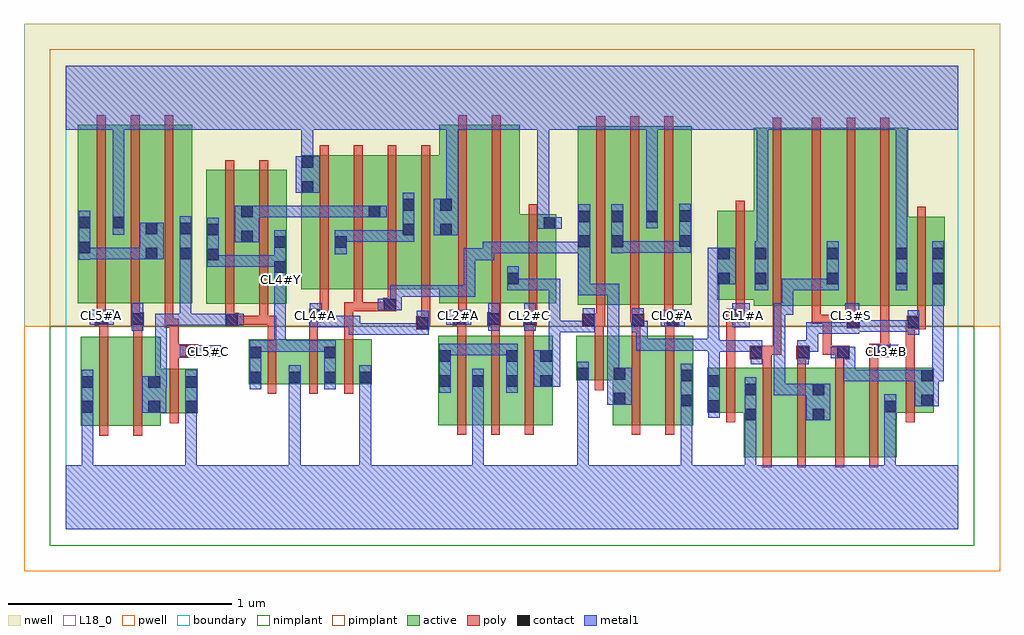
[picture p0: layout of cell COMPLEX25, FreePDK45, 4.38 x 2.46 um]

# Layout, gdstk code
import gdstk
lib = gdstk.Library(unit=1e-6, precision=1e-09)
def R(c, l, rs):  # rectangles x0, y0, x1, y1
    for r in rs: c.add(gdstk.rectangle(r[:2], r[2:], *l))
def A(c, l, x, y, w, h, nx, ny, dx, dy):  # array of equal rectangles
    R(c, l, [(x+i*dx, y+j*dy, x+i*dx+w, y+j*dy+h) for i in range(nx) for j in range(ny)])
active = (1, 0)
pwell = (2, 0)
nwell = (3, 0)
nimplant = (4, 0)
pimplant = (5, 0)
poly = (9, 0)
contact = (10, 0)
metal1 = (11, 0)
L18_0 = (18, 0)
boundary = (235, 0)

complex25 = lib.new_cell('COMPLEX25')
R(complex25, active, [(3.04,0.324,3.22,0.724), (3.22,0.324,3.404,0.724), (3.344,0.324,3.546,0.724), (3.546,0.324,3.726,0.724), (3.344,0.38,3.404,0.658), (3.666,0.38,3.726,0.62), (0.066,0.464,0.246,0.864), (0.246,0.464,0.426,0.864), (0.066,0.468,0.126,0.864), (0.366,0.468,0.426,0.72), (1.67,0.468,1.73,0.868), (1.67,0.468,1.878,0.868), (1.818,0.468,2.03,0.868), (1.818,0.468,1.878,0.71), (1.97,0.468,2.03,0.868), (1.97,0.468,2.182,0.868), (2.122,0.468,2.182,0.868), (2.452,0.468,2.632,0.868), (2.632,0.468,2.812,0.868), (2.752,0.468,2.812,0.868), (3.04,0.486,3.1,0.658), (0.366,0.52,0.59,0.72), (0.53,0.52,0.59,0.72), (2.876,0.524,3.1,0.724), (2.876,0.524,2.936,0.724), (3.666,0.524,3.89,0.724), (3.83,0.548,3.89,0.724), (2.452,0.556,2.512,0.796), (0.82,0.652,0.88,0.852), (0.82,0.652,1.056,0.852), (0.996,0.652,1.214,0.852), (0.996,0.652,1.056,0.75), (1.154,0.652,1.214,0.824), (1.154,0.652,1.372,0.852), (1.312,0.652,1.372,0.852), (2.288,0.668,2.512,0.868), (2.288,0.668,2.348,0.868), (3.084,1.002,3.264,1.802), (3.264,1.002,3.468,1.802), (3.408,1.002,3.596,1.802), (3.408,1.002,3.468,1.724), (3.596,1.002,3.776,1.802), (3.716,1.002,3.94,1.402), (3.88,1.002,3.94,1.402), (2.294,1.008,2.354,1.724), (2.294,1.008,2.502,1.808), (2.442,1.008,2.502,1.724), (2.442,1.008,2.658,1.808), (2.598,1.008,2.806,1.808), (2.746,1.008,2.806,1.724), (0.63,1.012,0.842,1.612), (0.63,1.012,0.69,1.556), (0.782,1.012,0.99,1.612), (0.93,1.012,0.99,1.556), (0.054,1.014,0.114,1.724), (0.054,1.014,0.266,1.814), (0.206,1.014,0.414,1.814), (0.354,1.014,0.566,1.814), (0.506,1.014,0.566,1.724), (1.674,1.014,1.854,1.814), (1.854,1.014,2.034,1.814), (1.974,1.014,2.198,1.414), (2.138,1.014,2.198,1.414), (0.782,1.018,0.842,1.556), (3.716,1.018,3.776,1.756), (0.206,1.028,0.266,1.756), (0.354,1.028,0.414,1.724), (2.92,1.03,3.144,1.43), (2.92,1.03,2.98,1.356), (3.084,1.04,3.144,1.606), (1.974,1.06,2.034,1.62), (1.054,1.078,1.262,1.678), (1.202,1.078,1.414,1.678), (1.354,1.078,1.566,1.678), (1.506,1.078,1.734,1.678), (1.506,1.078,1.566,1.582), (1.354,1.128,1.414,1.582), (1.674,1.128,1.734,1.666), (1.054,1.164,1.114,1.678), (2.598,1.206,2.658,1.808), (1.202,1.258,1.262,1.556)])
R(complex25, pwell, [(-0.188,-0.188,4.188,0.912)])
R(complex25, nwell, [(-0.188,0.912,4.188,2.268)])
R(complex25, nimplant, [(-0.072,-0.072,4.072,0.912)])
R(complex25, pimplant, [(-0.072,0.912,4.072,2.152)])
A(complex25, poly, 1.754, 0.424, 0.04, 0.488, 3, 1, 0.152, 0)
A(complex25, poly, 1.754, 0.872, 0.04, 0.082, 3, 1, 0.152, 0)
A(complex25, poly, 2.378, 0.928, 0.04, 0.076, 3, 1, 0.152, 0)
A(complex25, poly, 2.378, 0.964, 0.04, 0.888, 3, 1, 0.152, 0)
A(complex25, poly, 0.138, 0.97, 0.04, 0.888, 3, 1, 0.152, 0)
A(complex25, poly, 1.138, 1.034, 0.04, 0.688, 4, 1, 0.152, 0)
R(complex25, poly, [(3.124,0.28,3.164,0.768), (3.278,0.28,3.318,0.768), (3.45,0.28,3.49,0.768), (3.602,0.28,3.642,0.768), (0.15,0.42,0.19,0.908), (0.302,0.42,0.342,0.908), (2.536,0.424,2.576,0.912), (2.688,0.424,2.728,0.912), (0.466,0.476,0.506,0.764), (2.96,0.48,3,0.768), (3.766,0.48,3.806,0.768), (0.904,0.608,0.944,0.896), (1.09,0.608,1.13,0.896), (1.248,0.608,1.288,0.896), (2.372,0.624,2.412,0.912), (0.466,0.724,0.506,0.81), (2.96,0.728,3,0.97), (3.124,0.728,3.164,0.804), (3.278,0.728,3.318,0.804), (3.45,0.728,3.49,0.804), (3.602,0.728,3.642,0.812), (3.766,0.728,3.806,0.938), (3.066,0.764,3.164,0.824), (3.274,0.764,3.334,0.824), (3.45,0.764,3.514,0.824), (0.466,0.77,0.594,0.83), (3.602,0.772,3.698,0.832), (3.124,0.784,3.164,0.824), (3.124,0.784,3.208,0.824), (3.168,0.784,3.208,0.998), (3.394,0.784,3.434,0.824), (3.394,0.784,3.49,0.824), (3.394,0.784,3.434,0.962), (0.466,0.79,0.506,0.944), (3.652,0.792,3.692,0.832), (3.652,0.792,3.692,0.832), (3.652,0.792,3.692,0.998), (0.904,0.856,0.944,0.958), (1.09,0.856,1.13,0.97), (1.248,0.856,1.288,1.018), (0.15,0.868,0.19,0.954), (0.302,0.868,0.342,0.954), (2.372,0.872,2.412,0.948), (2.536,0.872,2.576,0.948), (2.688,0.872,2.728,0.948), (1.57,0.896,1.63,0.956), (3.766,0.898,3.81,0.938), (3.77,0.898,3.81,0.938), (3.77,0.898,3.856,0.958), (3.5,0.902,3.56,0.962), (0.442,0.904,0.482,1.01), (0.442,0.904,0.506,0.944), (2.314,0.908,2.418,0.968), (2.372,0.908,2.412,0.948), (2.372,0.908,2.412,0.948), (2.534,0.908,2.594,0.968), (2.682,0.908,2.75,0.968), (2.688,0.908,2.728,0.948), (2.688,0.908,2.728,0.948), (0.714,0.912,0.774,0.972), (0.13,0.914,0.19,0.974), (0.15,0.914,0.19,0.954), (0.15,0.914,0.19,0.954), (0.29,0.914,0.35,0.974), (0.302,0.914,0.342,0.954), (0.302,0.914,0.342,0.954), (1.734,0.914,1.794,0.974), (1.89,0.914,1.95,0.974), (1.906,0.914,1.946,0.954), (1.906,0.914,1.946,0.954), (2.05,0.914,2.11,0.974), (1.59,0.916,1.63,0.956), (1.59,0.916,1.634,0.956), (1.594,0.916,1.634,1.074), (0.734,0.918,0.906,0.958), (0.866,0.918,0.906,0.958), (0.866,0.918,0.906,0.958), (0.866,0.918,0.906,1.008), (0.866,0.918,0.944,0.958), (0.904,0.918,0.944,0.958), (0.904,0.918,0.944,0.958), (3.816,0.918,3.856,0.998), (3.344,0.922,3.384,0.962), (3.344,0.922,3.384,0.998), (3.344,0.922,3.434,0.962), (3.394,0.922,3.434,0.962), (3.5,0.922,3.54,0.998), (2.53,0.928,2.574,0.968), (2.534,0.928,2.574,0.968), (1.09,0.93,1.15,0.99), (2.96,0.93,3,0.97), (2.96,0.93,3,0.97), (2.96,0.93,3.044,0.99), (0.714,0.932,0.754,1.008), (0.138,0.934,0.178,1.01), (0.29,0.934,0.33,1.01), (1.754,0.934,1.794,0.974), (1.754,0.934,1.798,0.974), (1.758,0.934,1.798,1.01), (1.91,0.934,1.95,1.01), (2.07,0.934,2.11,0.974), (2.07,0.934,2.114,0.974), (2.074,0.934,2.114,1.01), (1.11,0.95,1.15,0.99), (1.11,0.95,1.178,0.99), (1.138,0.95,1.178,1.074), (3.004,0.95,3.044,1.026), (3.168,0.958,3.208,1.846), (3.344,0.958,3.384,1.846), (3.5,0.958,3.54,1.846), (3.652,0.958,3.692,1.846), (3.816,0.958,3.856,1.446), (0.714,0.968,0.754,1.656), (0.866,0.968,0.906,1.656), (1.758,0.97,1.798,1.858), (1.91,0.97,1.95,1.858), (2.074,0.97,2.114,1.458), (1.248,0.978,1.288,1.018), (1.248,0.978,1.288,1.018), (1.248,0.978,1.33,1.018), (1.29,0.978,1.33,1.018), (1.29,0.978,1.33,1.018), (1.29,0.978,1.462,1.018), (1.29,0.978,1.33,1.074), (1.422,0.978,1.482,1.038), (3.004,0.986,3.044,1.474), (1.442,0.998,1.482,1.074)])
A(complex25, contact, 1.822, 0.64, 0.052, 0.052, 3, 1, 0.152, 0)
A(complex25, contact, 1, 0.656, 0.052, 0.052, 3, 1, 0.158, 0)
R(complex25, contact, [(3.044,0.49,3.096,0.542), (3.348,0.49,3.4,0.542), (0.07,0.524,0.122,0.576), (0.37,0.524,0.422,0.576), (0.534,0.524,0.586,0.576), (3.67,0.526,3.722,0.578), (2.88,0.528,2.932,0.58), (2.756,0.552,2.808,0.604), (3.834,0.552,3.886,0.604), (2.456,0.56,2.508,0.612), (3.044,0.602,3.096,0.654), (3.348,0.602,3.4,0.654), (0.07,0.636,0.122,0.688), (0.37,0.636,0.422,0.688), (0.534,0.636,0.586,0.688), (1.674,0.64,1.726,0.692), (2.88,0.64,2.932,0.692), (0.824,0.656,0.876,0.708), (2.756,0.664,2.808,0.716), (3.834,0.664,3.886,0.716), (2.292,0.672,2.344,0.724), (2.456,0.672,2.508,0.724), (1.674,0.752,1.726,0.804), (1.974,0.752,2.026,0.804), (2.126,0.752,2.178,0.804), (0.824,0.768,0.876,0.82), (1.158,0.768,1.21,0.82), (3.07,0.768,3.122,0.82), (3.278,0.768,3.33,0.82), (3.458,0.768,3.51,0.82), (0.538,0.774,0.59,0.826), (3.642,0.776,3.694,0.828), (1.574,0.9,1.626,0.952), (3.774,0.902,3.826,0.954), (3.504,0.906,3.556,0.958), (2.318,0.912,2.37,0.964), (2.538,0.912,2.59,0.964), (2.694,0.912,2.746,0.964), (0.718,0.916,0.77,0.968), (0.134,0.918,0.186,0.97), (0.294,0.918,0.346,0.97), (1.738,0.918,1.79,0.97), (1.894,0.918,1.946,0.97), (2.054,0.918,2.106,0.97), (1.094,0.934,1.146,0.986), (2.988,0.934,3.04,0.986), (1.426,0.982,1.478,1.034), (1.978,1.1,2.03,1.152), (2.924,1.1,2.976,1.152), (3.088,1.1,3.14,1.152), (3.412,1.1,3.464,1.152), (3.72,1.1,3.772,1.152), (3.884,1.1,3.936,1.152), (0.934,1.15,0.986,1.202), (0.634,1.206,0.686,1.258), (0.358,1.212,0.41,1.264), (0.51,1.212,0.562,1.264), (2.924,1.212,2.976,1.264), (3.088,1.212,3.14,1.264), (3.412,1.212,3.464,1.264), (3.72,1.212,3.772,1.264), (3.884,1.212,3.936,1.264), (0.058,1.238,0.11,1.29), (0.934,1.262,0.986,1.314), (1.206,1.262,1.258,1.314), (2.298,1.266,2.35,1.318), (2.446,1.266,2.498,1.318), (2.75,1.268,2.802,1.32), (0.786,1.288,0.838,1.34), (0.634,1.318,0.686,1.37), (1.51,1.318,1.562,1.37), (1.678,1.318,1.73,1.37), (0.358,1.324,0.41,1.376), (0.51,1.324,0.562,1.376), (2.142,1.348,2.194,1.4), (0.058,1.35,0.11,1.402), (0.21,1.35,0.262,1.402), (2.298,1.378,2.35,1.43), (2.446,1.378,2.498,1.43), (2.602,1.378,2.654,1.43), (2.75,1.38,2.802,1.432), (0.786,1.4,0.838,1.452), (1.358,1.4,1.41,1.452), (1.51,1.43,1.562,1.482), (1.678,1.43,1.73,1.482), (1.058,1.51,1.11,1.562), (1.058,1.622,1.11,1.674)])
R(complex25, metal1, [(0,0,4,0.288), (0.07,0.236,0.122,0.288), (0.07,0.236,0.122,0.288), (0.07,0.236,0.122,0.548), (0.534,0.236,0.586,0.288), (0.534,0.236,0.586,0.288), (0.534,0.236,0.586,0.288), (0.534,0.236,0.586,0.288), (0.534,0.236,0.586,0.288), (0.534,0.236,0.586,0.288), (0.534,0.236,0.586,0.548), (1,0.236,1.052,0.288), (1,0.236,1.052,0.288), (1,0.236,1.052,0.68), (1.316,0.236,1.368,0.288), (1.316,0.236,1.368,0.288), (1.316,0.236,1.368,0.288), (1.316,0.236,1.368,0.288), (1.316,0.236,1.368,0.288), (1.316,0.236,1.368,0.288), (1.316,0.236,1.368,0.68), (1.822,0.236,1.874,0.288), (1.822,0.236,1.874,0.288), (1.822,0.236,1.874,0.664), (2.292,0.236,2.344,0.288), (2.292,0.236,2.344,0.288), (2.292,0.236,2.344,0.288), (2.292,0.236,2.344,0.288), (2.292,0.236,2.344,0.288), (2.292,0.236,2.344,0.288), (2.292,0.236,2.344,0.696), (2.756,0.236,2.808,0.288), (2.756,0.236,2.808,0.288), (2.756,0.236,2.808,0.576), (3.044,0.236,3.096,0.288), (3.044,0.236,3.096,0.288), (3.044,0.236,3.096,0.514), (3.668,0.236,3.72,0.288), (3.668,0.236,3.72,0.288), (3.668,0.236,3.72,0.55), (3.044,0.462,3.096,0.682), (3.32,0.49,3.428,0.654), (0.07,0.496,0.122,0.716), (0.534,0.496,0.586,0.716), (3.668,0.498,3.722,0.606), (2.88,0.5,2.932,0.72), (0.342,0.524,0.45,0.688), (2.756,0.524,2.808,0.744), (3.806,0.552,3.914,0.716), (2.428,0.56,2.536,0.724), (3.174,0.602,3.226,0.654), (3.174,0.602,3.372,0.654), (3.174,0.602,3.226,0.958), (3.32,0.602,3.372,0.654), (3.32,0.602,3.372,0.654), (1.674,0.612,1.726,0.832), (1.822,0.612,1.874,0.72), (1.974,0.612,2.026,0.832), (0.824,0.628,0.876,0.848), (1,0.628,1.052,0.68), (1,0.628,1.052,0.68), (1,0.628,1.052,0.68), (1,0.628,1.052,0.68), (1,0.628,1.052,0.736), (1.158,0.628,1.21,0.848), (1.316,0.628,1.368,0.736), (0.398,0.636,0.45,0.688), (0.398,0.636,0.452,0.688), (0.4,0.636,0.452,0.968), (2.098,0.64,2.216,0.804), (2.292,0.644,2.344,0.752), (3.486,0.664,3.538,0.716), (3.486,0.664,3.666,0.716), (3.486,0.664,3.538,0.82), (3.614,0.664,3.666,0.716), (3.614,0.664,3.666,0.716), (3.614,0.664,3.666,0.716), (3.614,0.664,3.858,0.716), (3.806,0.664,3.858,0.716), (3.806,0.664,3.858,0.716), (3.862,0.664,3.914,0.716), (3.862,0.664,3.936,0.716), (3.884,0.664,3.936,1.124), (2.88,0.668,2.932,0.848), (2.428,0.672,2.48,0.724), (2.428,0.672,2.48,0.724), (2.428,0.672,2.48,1.102), (3.07,0.74,3.122,0.848), (3.278,0.74,3.33,0.848), (2.164,0.752,2.216,0.936), (3.43,0.768,3.538,0.82), (3.486,0.768,3.538,0.82), (3.486,0.768,3.538,0.82), (0.51,0.774,0.694,0.826), (3.614,0.774,3.734,0.828), (1.674,0.78,1.736,0.832), (1.684,0.78,1.736,0.832), (1.684,0.78,1.846,0.832), (1.794,0.78,1.846,0.832), (1.794,0.78,1.846,0.832), (1.794,0.78,1.846,0.832), (1.794,0.78,2.026,0.832), (0.824,0.796,0.876,0.848), (0.824,0.796,0.876,0.848), (0.824,0.796,0.986,0.848), (0.934,0.796,0.986,0.848), (0.934,0.796,0.986,0.848), (0.934,0.796,0.986,0.848), (0.934,0.796,1.096,0.848), (0.934,0.796,0.986,1.118), (1.044,0.796,1.096,0.848), (1.044,0.796,1.21,0.848), (2.878,0.796,2.932,0.854), (2.88,0.796,2.932,0.848), (2.88,0.796,2.932,0.848), (2.88,0.796,3.116,0.848), (3.064,0.796,3.116,0.848), (3.064,0.796,3.122,0.848), (3.278,0.796,3.372,0.848), (3.32,0.796,3.372,0.848), (3.32,0.796,3.372,0.93), (2.556,0.802,2.608,0.936), (2.556,0.802,2.764,0.854), (2.712,0.802,2.764,0.854), (2.712,0.802,2.764,0.854), (2.712,0.802,2.764,0.854), (2.712,0.802,2.93,0.854), (2.878,0.802,2.93,1.152), (1.268,0.872,1.396,0.924), (1.268,0.872,1.32,0.958), (1.344,0.872,1.396,0.924), (1.344,0.872,1.516,0.924), (1.464,0.872,1.516,0.924), (1.464,0.872,1.516,0.924), (1.464,0.872,1.516,0.924), (1.464,0.872,1.626,0.924), (1.574,0.872,1.626,0.98), (3.774,0.874,3.826,0.982), (3.32,0.878,3.372,0.93), (3.32,0.878,3.546,0.93), (3.494,0.878,3.556,1.014), (2.164,0.884,2.216,0.936), (2.164,0.884,2.216,0.936), (2.164,0.884,2.216,0.936), (2.164,0.884,2.216,1.124), (2.164,0.884,2.37,0.936), (2.318,0.884,2.37,0.936), (2.318,0.884,2.37,0.936), (2.318,0.884,2.37,0.992), (2.538,0.884,2.59,0.992), (2.538,0.884,2.608,0.936), (3.504,0.886,3.556,0.938), (3.504,0.886,3.556,0.938), (3.504,0.886,3.668,0.938), (3.616,0.886,3.668,0.938), (3.616,0.886,3.668,0.938), (3.616,0.886,3.668,0.938), (3.616,0.886,3.826,0.938), (0.294,0.89,0.346,1.014), (1.894,0.89,1.946,1.014), (2.054,0.89,2.106,1.014), (1.094,0.906,1.146,0.958), (1.094,0.906,1.146,0.958), (1.094,0.906,1.146,1.014), (1.094,0.906,1.32,0.958), (2.988,0.906,3.066,1.014), (3.174,0.906,3.226,1.014), (2.666,0.912,2.774,0.986), (0.4,0.916,0.452,0.968), (0.4,0.916,0.456,0.968), (0.404,0.916,0.456,0.968), (0.404,0.916,0.562,0.968), (0.51,0.916,0.562,1.236), (0.51,0.916,0.566,0.968), (0.514,0.916,0.566,0.968), (0.514,0.916,0.566,0.968), (0.514,0.916,0.742,0.968), (0.69,0.916,0.798,0.968), (0.106,0.918,0.214,0.986), (1.706,0.918,1.818,0.986), (3.174,0.962,3.226,1.014), (3.174,0.962,3.262,1.014), (3.21,0.962,3.262,1.124), (1.398,0.982,1.506,1.034), (1.454,0.982,1.506,1.034), (1.454,0.982,1.506,1.096), (1.454,1.044,1.626,1.096), (1.574,1.044,1.626,1.096), (1.574,1.044,1.626,1.096), (1.574,1.044,1.626,1.096), (1.574,1.044,1.736,1.096), (1.684,1.044,1.736,1.096), (1.684,1.044,1.836,1.096), (1.784,1.044,1.836,1.096), (1.784,1.044,1.836,1.096), (1.784,1.044,1.836,1.096), (1.784,1.044,1.836,1.26), (2.298,1.05,2.35,1.102), (2.298,1.05,2.35,1.102), (2.298,1.05,2.35,1.102), (2.298,1.05,2.48,1.102), (2.298,1.05,2.35,1.29), (2.428,1.05,2.48,1.102), (2.428,1.05,2.48,1.102), (2.428,1.05,2.48,1.102), (0.934,1.066,0.986,1.174), (1.978,1.072,2.03,1.124), (1.978,1.072,2.03,1.124), (1.978,1.072,2.03,1.18), (1.978,1.072,2.216,1.124), (2.164,1.072,2.216,1.124), (3.088,1.072,3.15,1.292), (3.21,1.072,3.262,1.124), (3.21,1.072,3.262,1.124), (3.21,1.072,3.262,1.124), (3.21,1.072,3.464,1.124), (3.412,1.072,3.464,1.292), (3.72,1.072,3.772,1.292), (3.884,1.072,3.936,1.124), (3.884,1.072,3.936,1.124), (3.884,1.072,3.936,1.292), (2.878,1.1,2.93,1.152), (2.878,1.1,2.93,1.152), (2.878,1.1,3.004,1.264), (0.934,1.122,0.986,1.174), (0.934,1.122,0.986,1.174), (0.934,1.122,0.986,1.174), (0.934,1.122,0.986,1.342), (0.634,1.178,0.686,1.23), (0.634,1.178,0.686,1.23), (0.634,1.178,0.686,1.398), (0.634,1.178,0.876,1.23), (0.824,1.178,0.876,1.23), (0.824,1.178,0.876,1.23), (0.824,1.178,0.876,1.23), (0.824,1.178,0.986,1.23), (0.51,1.184,0.562,1.404), (1.784,1.208,1.836,1.26), (1.784,1.208,1.92,1.26), (1.868,1.208,1.92,1.29), (0.058,1.21,0.11,1.43), (0.058,1.212,0.11,1.264), (0.058,1.212,0.11,1.264), (0.058,1.212,0.22,1.264), (0.168,1.212,0.22,1.264), (0.168,1.212,0.22,1.264), (0.168,1.212,0.22,1.264), (0.168,1.212,0.382,1.264), (0.33,1.212,0.438,1.376), (1.206,1.234,1.258,1.342), (1.868,1.238,2.04,1.29), (1.988,1.238,2.04,1.29), (1.988,1.238,2.234,1.29), (2.182,1.238,2.234,1.29), (2.182,1.238,2.234,1.29), (2.182,1.238,2.234,1.29), (2.182,1.238,2.35,1.29), (2.298,1.238,2.35,1.458), (2.446,1.238,2.498,1.458), (2.446,1.24,2.608,1.292), (2.556,1.24,2.608,1.292), (2.556,1.24,2.608,1.292), (2.556,1.24,2.608,1.292), (2.556,1.24,2.608,1.292), (2.556,1.24,2.608,1.292), (2.556,1.24,2.802,1.292), (2.75,1.24,2.802,1.292), (2.75,1.24,2.802,1.292), (2.75,1.24,2.802,1.46), (3.098,1.24,3.15,1.844), (3.72,1.24,3.772,1.844), (0.758,1.288,0.866,1.452), (1.206,1.29,1.258,1.342), (1.206,1.29,1.258,1.342), (1.206,1.29,1.396,1.342), (1.344,1.29,1.396,1.342), (1.344,1.29,1.516,1.342), (1.464,1.29,1.516,1.342), (1.464,1.29,1.562,1.342), (1.51,1.29,1.562,1.51), (1.65,1.318,1.758,1.482), (0.21,1.322,0.262,1.43), (2.114,1.348,2.222,1.4), (2.114,1.348,2.166,1.844), (2.602,1.35,2.654,1.458), (0.21,1.378,0.262,1.844), (0.814,1.4,0.866,1.452), (0.814,1.4,0.866,1.452), (0.814,1.4,0.986,1.452), (0.934,1.4,0.986,1.452), (0.934,1.4,0.986,1.452), (0.934,1.4,0.986,1.452), (0.934,1.4,1.096,1.452), (1.044,1.4,1.096,1.452), (1.044,1.4,1.256,1.452), (1.204,1.4,1.256,1.452), (1.204,1.4,1.256,1.452), (1.204,1.4,1.256,1.452), (1.204,1.4,1.382,1.452), (1.33,1.4,1.438,1.452), (2.602,1.406,2.654,1.844), (1.706,1.43,1.758,1.844), (1.03,1.51,1.138,1.674), (1.056,1.622,1.108,1.844), (0,1.792,4,2.08), (1.056,1.792,1.108,1.844), (1.056,1.792,1.108,1.844), (1.056,1.792,1.108,1.844), (1.056,1.792,1.108,1.844), (2.114,1.792,2.166,1.844), (2.114,1.792,2.166,1.844), (2.114,1.792,2.166,1.844), (2.114,1.792,2.166,1.844), (2.114,1.792,2.166,1.844), (2.114,1.792,2.166,1.844), (2.114,1.792,2.166,1.844), (2.114,1.792,2.166,1.844)])
A(complex25, L18_0, 1.734, 0.934, 0.052, 0.052, 3, 1, 0.16, 0)
R(complex25, L18_0, [(0,0,4,0.288), (0.07,0.236,0.122,0.288), (0.07,0.236,0.122,0.288), (0.07,0.236,0.122,0.548), (0.534,0.236,0.586,0.288), (0.534,0.236,0.586,0.288), (0.534,0.236,0.586,0.288), (0.534,0.236,0.586,0.288), (0.534,0.236,0.586,0.288), (0.534,0.236,0.586,0.288), (0.534,0.236,0.586,0.548), (1,0.236,1.052,0.288), (1,0.236,1.052,0.288), (1,0.236,1.052,0.68), (1.316,0.236,1.368,0.288), (1.316,0.236,1.368,0.288), (1.316,0.236,1.368,0.288), (1.316,0.236,1.368,0.288), (1.316,0.236,1.368,0.288), (1.316,0.236,1.368,0.288), (1.316,0.236,1.368,0.68), (1.822,0.236,1.874,0.288), (1.822,0.236,1.874,0.288), (1.822,0.236,1.874,0.664), (2.292,0.236,2.344,0.288), (2.292,0.236,2.344,0.288), (2.292,0.236,2.344,0.288), (2.292,0.236,2.344,0.288), (2.292,0.236,2.344,0.288), (2.292,0.236,2.344,0.288), (2.292,0.236,2.344,0.696), (2.756,0.236,2.808,0.288), (2.756,0.236,2.808,0.288), (2.756,0.236,2.808,0.576), (3.044,0.236,3.096,0.288), (3.044,0.236,3.096,0.288), (3.044,0.236,3.096,0.514), (3.668,0.236,3.72,0.288), (3.668,0.236,3.72,0.288), (3.668,0.236,3.72,0.55), (3.044,0.462,3.096,0.682), (3.32,0.49,3.428,0.654), (0.07,0.496,0.122,0.716), (0.534,0.496,0.586,0.716), (3.668,0.498,3.722,0.606), (2.756,0.524,2.808,0.744), (3.174,0.602,3.226,0.654), (3.174,0.602,3.226,0.958), (3.174,0.602,3.372,0.654), (3.32,0.602,3.372,0.654), (3.32,0.602,3.372,0.654), (1.822,0.612,1.874,0.72), (0.824,0.628,0.876,0.848), (1,0.628,1.052,0.68), (1,0.628,1.052,0.68), (1,0.628,1.052,0.68), (1,0.628,1.052,0.68), (1,0.628,1.052,0.736), (1.158,0.628,1.21,0.848), (1.316,0.628,1.368,0.736), (2.292,0.644,2.344,0.752), (3.278,0.74,3.33,0.848), (0.51,0.774,0.694,0.826), (0.614,0.774,0.666,0.826), (3.614,0.774,3.734,0.828), (3.654,0.774,3.706,0.826), (0.824,0.796,0.876,0.848), (0.824,0.796,0.876,0.848), (0.824,0.796,0.986,0.848), (0.934,0.796,0.986,0.848), (0.934,0.796,0.986,0.848), (0.934,0.796,0.986,0.848), (0.934,0.796,1.096,0.848), (0.934,0.796,0.986,1.118), (1.044,0.796,1.096,0.848), (1.044,0.796,1.21,0.848), (3.278,0.796,3.372,0.848), (3.32,0.796,3.372,0.848), (3.32,0.796,3.372,0.93), (1.268,0.872,1.32,0.958), (1.268,0.872,1.396,0.924), (1.344,0.872,1.396,0.924), (1.344,0.872,1.516,0.924), (1.464,0.872,1.516,0.924), (1.464,0.872,1.516,0.924), (1.464,0.872,1.516,0.924), (1.464,0.872,1.626,0.924), (1.574,0.872,1.626,0.98), (3.774,0.874,3.826,0.982), (3.32,0.878,3.372,0.93), (3.32,0.878,3.546,0.93), (3.494,0.878,3.556,1.014), (3.504,0.886,3.556,0.938), (3.504,0.886,3.556,0.938), (3.504,0.886,3.668,0.938), (3.616,0.886,3.668,0.938), (3.616,0.886,3.668,0.938), (3.616,0.886,3.668,0.938), (3.616,0.886,3.826,0.938), (0.294,0.89,0.346,1.014), (1.894,0.89,1.946,1.014), (2.054,0.89,2.106,1.014), (1.094,0.906,1.146,0.958), (1.094,0.906,1.146,0.958), (1.094,0.906,1.146,1.014), (1.094,0.906,1.32,0.958), (2.988,0.906,3.066,1.014), (3.174,0.906,3.226,1.014), (2.666,0.912,2.774,0.986), (0.106,0.918,0.214,0.986), (1.706,0.918,1.818,0.986), (0.134,0.934,0.186,0.986), (0.294,0.934,0.346,0.986), (1.094,0.934,1.146,0.986), (2.694,0.934,2.746,0.986), (3.014,0.934,3.066,0.986), (3.174,0.934,3.226,0.986), (3.494,0.934,3.546,0.986), (3.174,0.962,3.226,1.014), (3.174,0.962,3.262,1.014), (3.21,0.962,3.262,1.124), (0.934,1.066,0.986,1.174), (3.088,1.072,3.15,1.292), (3.21,1.072,3.262,1.124), (3.21,1.072,3.262,1.124), (3.21,1.072,3.262,1.124), (3.21,1.072,3.464,1.124), (3.412,1.072,3.464,1.292), (3.72,1.072,3.772,1.292), (0.934,1.094,0.986,1.146), (0.934,1.122,0.986,1.174), (0.934,1.122,0.986,1.174), (0.934,1.122,0.986,1.174), (0.934,1.122,0.986,1.342), (0.634,1.178,0.686,1.23), (0.634,1.178,0.686,1.23), (0.634,1.178,0.686,1.398), (0.634,1.178,0.876,1.23), (0.824,1.178,0.876,1.23), (0.824,1.178,0.876,1.23), (0.824,1.178,0.876,1.23), (0.824,1.178,0.986,1.23), (3.098,1.24,3.15,1.844), (3.72,1.24,3.772,1.844), (1.65,1.318,1.758,1.482), (0.21,1.322,0.262,1.43), (2.114,1.348,2.222,1.4), (2.114,1.348,2.166,1.844), (2.602,1.35,2.654,1.458), (0.21,1.378,0.262,1.844), (2.602,1.406,2.654,1.844), (1.706,1.43,1.758,1.844), (1.03,1.51,1.138,1.674), (1.056,1.622,1.108,1.844), (0,1.792,4,2.08), (1.056,1.792,1.108,1.844), (1.056,1.792,1.108,1.844), (1.056,1.792,1.108,1.844), (1.056,1.792,1.108,1.844), (2.114,1.792,2.166,1.844), (2.114,1.792,2.166,1.844), (2.114,1.792,2.166,1.844), (2.114,1.792,2.166,1.844), (2.114,1.792,2.166,1.844), (2.114,1.792,2.166,1.844), (2.114,1.792,2.166,1.844), (2.114,1.792,2.166,1.844)])
R(complex25, boundary, [(0,0,4,2.08)])
complex25.add(gdstk.Label('CL0#A', (2.72,0.96), layer=11, texttype=0))
complex25.add(gdstk.Label('CL1#A', (3.04,0.96), layer=11, texttype=0))
complex25.add(gdstk.Label('CL2#A', (1.76,0.96), layer=11, texttype=0))
complex25.add(gdstk.Label('CL2#B', (1.92,0.96), layer=11, texttype=0))
complex25.add(gdstk.Label('CL2#C', (2.08,0.96), layer=11, texttype=0))
complex25.add(gdstk.Label('CL3#B', (3.68,0.8), layer=11, texttype=0))
complex25.add(gdstk.Label('CL3#S', (3.52,0.96), layer=11, texttype=0))
complex25.add(gdstk.Label('CL3#Y', (3.2,0.96), layer=11, texttype=0))
complex25.add(gdstk.Label('CL4#A', (1.12,0.96), layer=11, texttype=0))
complex25.add(gdstk.Label('CL4#Y', (0.96,1.12), layer=11, texttype=0))
complex25.add(gdstk.Label('CL5#A', (0.16,0.96), layer=11, texttype=0))
complex25.add(gdstk.Label('CL5#B', (0.32,0.96), layer=11, texttype=0))
complex25.add(gdstk.Label('CL5#C', (0.64,0.8), layer=11, texttype=0))

lib.write_gds('COMPLEX25.gds')
